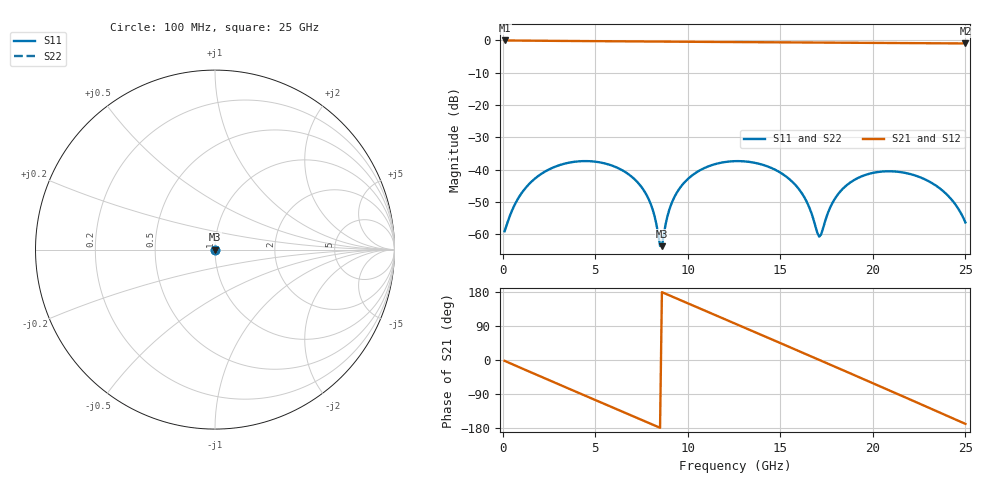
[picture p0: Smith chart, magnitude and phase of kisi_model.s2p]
! kisi T_vna6_cpwg_10: fast channel model (formula impedances, via model), up to 25 GHz
# Hz S RI R 50
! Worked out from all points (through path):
!   250 points, 100 MHz to 25 GHz, reference 50 ohm
!   highest |S21| = -0.01 dB at 100 MHz (marker M1); lowest = -0.9 dB at 25 GHz (marker M2)
!   group delay of S21, straight-line fit = 58.5 ps
!   lowest |S11| = -63.7 dB at 8.6 GHz (marker M3), VSWR 1.00, Z = 50.1 + j0.04 ohm
!   |S11| at or under -10 dB: start of sweep to end of sweep
!   |S22| runs from -63.7 to -37.4 dB; largest |S21 - S12| = 0
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1e8  0.00103 0.000415  0.9976 -0.0383  0.9976 -0.0383  0.00103 0.000415
7e8  0.00154 0.00264  0.9605 -0.2585  0.9605 -0.2585  0.00154 0.00264
1.6e9  0.00363 0.00562  0.8193 -0.5555  0.8193 -0.5555  0.00363 0.00562
3e9  0.00939 0.00671  0.4365 -0.8806  0.4365 -0.8806  0.00939 0.00671
4.3e9  0.0132 0.00275  -0.0157 -0.9767  -0.0157 -0.9767  0.0132 0.00275
5.6e9  0.012 -0.00273  -0.4583 -0.856  -0.4583 -0.856  0.012 -0.00273
7.1e9  0.00548 -0.00464  -0.8317 -0.4885  -0.8317 -0.4885  0.00548 -0.00464
7.9e9  0.00216 -0.00263  -0.9339 -0.2273  -0.9339 -0.2273  0.00216 -0.00263
8.4e9  0.000829 -0.000544  -0.9576 -0.0537  -0.9576 -0.0537  0.000829 -0.000544
8.6e9  0.000514 0.0004  -0.9582 0.0163  -0.9582 0.0163  0.000514 0.0004
9e9  0.000294 0.00237  -0.9439 0.1555  -0.9439 0.1555  0.000294 0.00237
9.8e9  0.00149 0.00606  -0.8561 0.4196  -0.8561 0.4196  0.00149 0.00606
1.26e10  0.0123 0.00569  -0.0848 0.9384  -0.0848 0.9384  0.0123 0.00569
1.52e10  0.00762 -0.00314  0.7093 0.605  0.7093 0.605  0.00762 -0.00314
1.61e10  0.00376 -0.00258  0.8645 0.3401  0.8645 0.3401  0.00376 -0.00258
1.67e10  0.00175 -0.00105  0.9158 0.1418  0.9158 0.1418  0.00175 -0.00105
1.71e10  0.000855 0.000324  0.9253 0.00547  0.9253 0.00547  0.000855 0.000324
1.78e10  0.000311 0.00297  0.8934 -0.2308  0.8934 -0.2308  0.000311 0.00297
1.85e10  0.00103 0.00535  0.8022 -0.4507  0.8022 -0.4507  0.00103 0.00535
2.09e10  0.00714 0.00613  0.1517 -0.8989  0.1517 -0.8989  0.00714 0.00613
2.34e10  0.00566 0.000202  -0.6274 -0.6493  -0.6274 -0.6493  0.00566 0.000202
2.5e10  0.00152 -3.99e-05  -0.8796 -0.1781  -0.8796 -0.1781  0.00152 -3.99e-05
